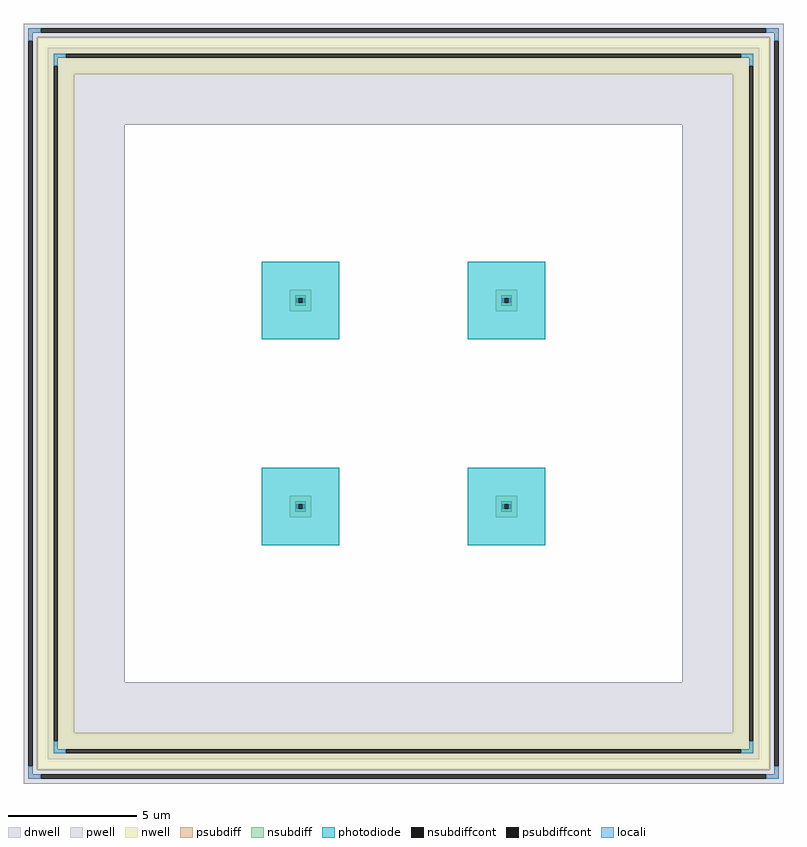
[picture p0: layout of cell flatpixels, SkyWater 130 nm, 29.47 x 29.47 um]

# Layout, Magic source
magic
tech sky130A
magscale 1 2
<< dnwell >>
rect -320 4854 5200 5454
rect -320 534 280 4854
rect 4600 534 5200 4854
rect -320 -66 5200 534
<< photodiode >>
rect 1340 3194 1940 3794
rect 2940 3194 3540 3794
rect 1340 1594 1940 2194
rect 2940 1594 3540 2194
<< nwell >>
rect -400 5248 5280 5534
rect -400 140 -114 5248
rect 1556 3410 1724 3578
rect 3156 3410 3324 3578
rect 1556 1810 1724 1978
rect 3156 1810 3324 1978
rect 4994 140 5280 5248
rect -400 -146 5280 140
<< pwell >>
rect -507 5535 5387 5641
rect -507 -147 -401 5535
rect 5281 -147 5387 5535
rect -507 -253 5387 -147
<< psubdiff >>
rect -471 5571 -375 5605
rect 5255 5571 5351 5605
rect -471 5509 -437 5571
rect 5317 5509 5351 5571
rect -471 -183 -437 -121
rect 5317 -183 5351 -121
rect -471 -217 -375 -183
rect 5255 -217 5351 -183
<< nsubdiff >>
rect -274 5374 -178 5408
rect 5058 5374 5154 5408
rect -274 5312 -240 5374
rect 5120 5312 5154 5374
rect 1599 3511 1681 3535
rect 1599 3477 1623 3511
rect 1657 3477 1681 3511
rect 1599 3453 1681 3477
rect 3199 3511 3281 3535
rect 3199 3477 3223 3511
rect 3257 3477 3281 3511
rect 3199 3453 3281 3477
rect 1599 1911 1681 1935
rect 1599 1877 1623 1911
rect 1657 1877 1681 1911
rect 1599 1853 1681 1877
rect 3199 1911 3281 1935
rect 3199 1877 3223 1911
rect 3257 1877 3281 1911
rect 3199 1853 3281 1877
rect -274 14 -240 76
rect 5120 14 5154 76
rect -274 -20 -178 14
rect 5058 -20 5154 14
<< psubdiffcont >>
rect -375 5571 5255 5605
rect -471 -121 -437 5509
rect 5317 -121 5351 5509
rect -375 -217 5255 -183
<< nsubdiffcont >>
rect -178 5374 5058 5408
rect -274 76 -240 5312
rect 1623 3477 1657 3511
rect 3223 3477 3257 3511
rect 1623 1877 1657 1911
rect 3223 1877 3257 1911
rect 5120 76 5154 5312
rect -178 -20 5058 14
<< locali >>
rect -471 5571 -375 5605
rect 5255 5571 5351 5605
rect -471 5509 -437 5571
rect 5317 5509 5351 5571
rect -274 5374 -178 5408
rect 5058 5374 5154 5408
rect -274 5312 -240 5374
rect 5120 5312 5154 5374
rect 1607 3477 1623 3511
rect 1657 3477 1673 3511
rect 3207 3477 3223 3511
rect 3257 3477 3273 3511
rect 1607 1877 1623 1911
rect 1657 1877 1673 1911
rect 3207 1877 3223 1911
rect 3257 1877 3273 1911
rect -274 14 -240 76
rect 5120 14 5154 76
rect -274 -20 -178 14
rect 5058 -20 5154 14
rect -471 -183 -437 -121
rect 5317 -183 5351 -121
rect -471 -217 -375 -183
rect 5255 -217 5351 -183
<< end >>
